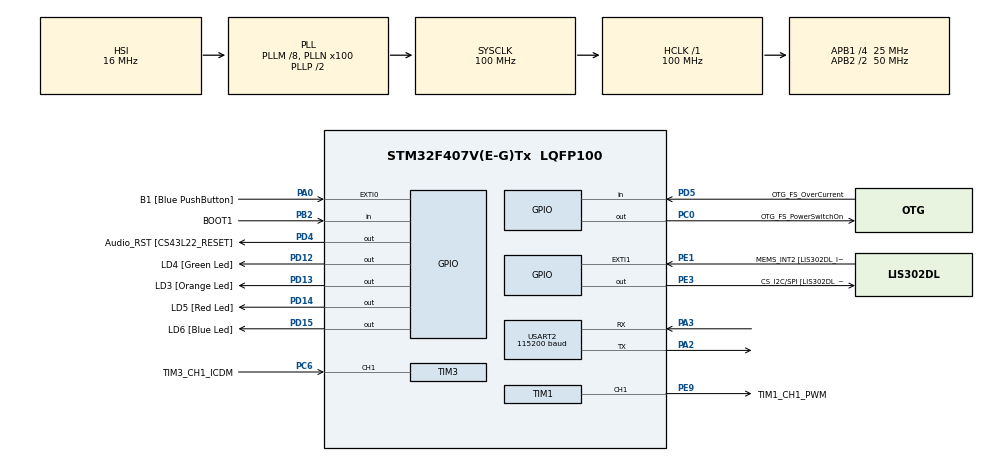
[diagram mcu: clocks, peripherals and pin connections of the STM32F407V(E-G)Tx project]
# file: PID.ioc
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Mcu.Family=STM32F4
PA11.GPIO_Speed=GPIO_SPEED_FREQ_LOW
PC3.GPIO_Mode=GPIO_MODE_AF_PP
PD12.GPIO_Label=LD4 [Green Led]
PH0-OSC_IN.Signal=RCC_OSC_IN
RCC.CortexFreq_Value=100000000
PC10.GPIO_PuPd=GPIO_NOPULL
PB10.GPIO_Speed=GPIO_SPEED_FREQ_LOW
PB6.GPIO_Mode=GPIO_MODE_AF_OD
PB10.GPIO_PuPd=GPIO_NOPULL
TIM1.RepetitionCounter=0
PA10.GPIO_PuPd=GPIO_NOPULL
PD15.GPIO_Speed=GPIO_SPEED_FREQ_LOW
PC10.Signal=I2S3_CK
PC12.Signal=I2S3_SD
PA14.GPIO_Label=SWCLK
PA7.GPIO_Mode=GPIO_MODE_AF_PP
PC0.GPIO_Label=OTG_FS_PowerSwitchOn
PC6.GPIO_Label=TIM3_CH1_ICDM
PA6.GPIO_Label=SPI1_MISO [LIS302DL_SDO]
PB6.GPIO_Label=Audio_SCL [CS43L22_SCL]
PC10.GPIO_Speed=GPIO_SPEED_FREQ_LOW
PA11.GPIO_PuPd=GPIO_NOPULL
PC15-OSC32_OUT.GPIO_Label=PC15-OSC32_OUT
PC3.GPIO_Speed=GPIO_SPEED_FREQ_LOW
RCC.SYSCLKSource=RCC_SYSCLKSOURCE_PLLCLK
ProjectManager.StackSize=0x400
PA6.GPIO_Mode=GPIO_MODE_AF_PP
PD13.Signal=GPIO_Output
PD14.GPIO_Speed=GPIO_SPEED_FREQ_LOW
PA12.Signal=USB_OTG_FS_DP
TIM1.Prescaler=0
RCC.HCLKFreq_Value=100000000
PD4.Signal=GPIO_Output
RCC.APB2TimFreq_Value=100000000
TIM3.Period=0xffff
PB6.Signal=I2C1_SCL
PC7.Signal=I2S3_MCK
PC3.Signal=I2S2_SD
PE1.Signal=GPXTI1
RCC.AHBFreq_Value=100000000
PH0-OSC_IN.GPIO_Label=PH0-OSC_IN
PA9.GPIO_Mode=GPIO_MODE_INPUT
RCC.HSE_VALUE=8000000
TIM3.Channel-Input_Capture1_from_TI1=TIM_CHANNEL_1
PA4.GPIO_PuPd=GPIO_NOPULL
PB2.Signal=GPIO_Input
PA4.GPIO_Speed=GPIO_SPEED_FREQ_LOW
PA6.GPIO_PuPd=GPIO_NOPULL
TIM1.Channel-PWM\ Generation1\ CH1=TIM_CHANNEL_1
PE9.Signal=S_TIM1_CH1
TIM3.Prescaler=0
PA5.GPIO_PuPd=GPIO_NOPULL
NVIC.TIM2_IRQn=true\:0\:0\:false\:false\:true\:true\:true
PA10.GPIO_Label=OTG_FS_ID
PC7.GPIO_Mode=GPIO_MODE_AF_PP
PD5.GPIO_Mode=GPIO_MODE_INPUT
PD14.GPIO_PuPd=GPIO_NOPULL
SH.S_TIM3_CH1.0=TIM3_CH1,Input_Capture1_from_TI1
PB2.GPIO_PuPd=GPIO_NOPULL
VP_TIM1_VS_ClockSourceINT.Mode=Internal
SH.S_TIM3_CH1.1=TIM3_CH1,TriggerSource_TI1FP1
PD13.GPIO_Label=LD3 [Orange Led]
Mcu.Package=LQFP100
PB9.Signal=I2C1_SDA
TIM2.Prescaler=50-1
PA6.Signal=SPI1_MISO
USART2.VirtualMode=VM_ASYNC
PD12.Signal=GPIO_Output
PD5.GPIO_Label=OTG_FS_OverCurrent
PD15.GPIO_PuPd=GPIO_NOPULL
PA10.Signal=USB_OTG_FS_ID
PB9.GPIO_PuPd=GPIO_NOPULL
PA10.GPIO_Speed=GPIO_SPEED_FREQ_LOW
RCC.APB2CLKDivider=RCC_HCLK_DIV2
PB9.GPIO_Speed=GPIO_SPEED_FREQ_LOW
RCC.APB1TimFreq_Value=50000000
PC14-OSC32_IN.GPIO_Label=PC14-OSC32_IN
TIM1.Period=10000-1
PC12.GPIO_PuPd=GPIO_NOPULL
PA6.GPIO_Speed=GPIO_SPEED_FREQ_LOW
PC0.GPIO_PuPd=GPIO_NOPULL
PA12.GPIO_PuPd=GPIO_NOPULL
VP_TIM3_VS_ControllerModeReset.Mode=Reset Mode
PA4.GPIO_Label=I2S3_WS [CS43L22_LRCK]
PD15.Signal=GPIO_Output
PC0.PinState=GPIO_PIN_SET
VP_TIM3_VS_ClockSourceINT.Mode=Internal
PA12.GPIO_Speed=GPIO_SPEED_FREQ_LOW
PA3.Signal=USART2_RX
PB3.GPIO_Label=SWO
PD12.GPIO_Speed=GPIO_SPEED_FREQ_LOW
PD15.GPIO_Label=LD6 [Blue Led]
PB9.GPIO_Label=Audio_SDA [CS43L22_SDA]
PC10.GPIO_Label=I2S3_SCK [CS43L22_SCLK]
PA9.GPIO_Label=VBUS_FS
PB6.GPIO_PuPd=GPIO_NOPULL
PC6.Signal=S_TIM3_CH1
PA11.GPIO_Label=OTG_FS_DM
PE1.GPIO_PuPd=GPIO_NOPULL
PD5.Signal=GPIO_Input
PC0.Signal=GPIO_Output
PE1.GPIO_ModeDefaultEXTI=GPIO_MODE_EVT_RISING
RCC.APB1CLKDivider=RCC_HCLK_DIV4
PC14-OSC32_IN.Signal=RCC_OSC32_IN
PA9.GPIO_PuPd=GPIO_NOPULL
NVIC.USART2_IRQn=true\:0\:0\:false\:false\:true\:true\:true
USART2.BaudRate=115200
PA12.GPIO_Label=OTG_FS_DP
PA0-WKUP.GPIO_Label=B1 [Blue PushButton]
PA0-WKUP.Signal=GPXTI0
PA10.GPIO_Mode=GPIO_MODE_AF_PP
PA3.Mode=Asynchronous
PA13.Signal=SYS_JTMS-SWDIO
PC10.GPIO_Mode=GPIO_MODE_AF_PP
PD4.GPIO_PuPd=GPIO_NOPULL
PC0.GPIO_Speed=GPIO_SPEED_FREQ_LOW
PB10.GPIO_Mode=GPIO_MODE_AF_PP
SH.S_TIM1_CH1.0=TIM1_CH1,PWM Generation1 CH1
ProjectManager.TargetToolchain=STM32CubeIDE
PB10.GPIO_Label=CLK_IN [MP45DT02_CLK]
PA9.Signal=USB_OTG_FS_VBUS
PC7.GPIO_PuPd=GPIO_NOPULL
RCC.LSE_VALUE=32768
PC15-OSC32_OUT.Signal=RCC_OSC32_OUT
PE9.GPIO_Label=TIM1_CH1_PWM
PA7.GPIO_PuPd=GPIO_NOPULL
PB10.Signal=I2S2_CK
PA5.Signal=SPI1_SCK
board=STM32F407G-DISC1
PD13.GPIO_Speed=GPIO_SPEED_FREQ_LOW
PC7.GPIO_Speed=GPIO_SPEED_FREQ_LOW
RCC.VCOOutputFreq_Value=200000000
PE1.GPIO_Label=MEMS_INT2 [LIS302DL_INT2]
PA7.GPIO_Speed=GPIO_SPEED_FREQ_LOW
NVIC.TIM3_IRQn=true\:0\:0\:false\:false\:true\:true\:true
PB9.GPIO_Mode=GPIO_MODE_AF_OD
PA12.GPIO_Mode=GPIO_MODE_AF_PP
PA4.GPIO_Mode=GPIO_MODE_AF_PP
RCC.APB2Freq_Value=50000000
PB2.GPIO_Mode=GPIO_MODE_INPUT
USART2.StopBits=STOPBITS_2
VP_TIM2_VS_ClockSourceINT.Mode=Internal
PD4.GPIO_Label=Audio_RST [CS43L22_RESET]
PD4.GPIO_Speed=GPIO_SPEED_FREQ_LOW
PE3.GPIO_PuPd=GPIO_NOPULL
PH1-OSC_OUT.Signal=RCC_OSC_OUT
PD13.GPIO_PuPd=GPIO_NOPULL
PD5.GPIO_PuPd=GPIO_NOPULL
PD14.GPIO_Label=LD5 [Red Led]
PH1-OSC_OUT.GPIO_Label=PH1-OSC_OUT
TIM2.Period=1000-1
Mcu.Name=STM32F407V(E-G)Tx
PA2.Signal=USART2_TX
PA13.GPIO_Label=SWDIO
PC7.GPIO_Label=I2S3_MCK [CS43L22_MCLK]
PD14.Signal=GPIO_Output
RCC.48MHZClocksFreq_Value=28571428.57142857
PB3.Signal=SYS_JTDO-SWO
PA4.Signal=I2S3_WS
RCC.SYSCLKFreq_VALUE=100000000
PC12.GPIO_Mode=GPIO_MODE_AF_PP
PA7.GPIO_Label=SPI1_MOSI [LIS302DL_SDA/SDI/SDO]
PA5.GPIO_Label=SPI1_SCK [LIS302DL_SCL/SPC]
PE3.GPIO_Speed=GPIO_SPEED_FREQ_LOW
PC12.GPIO_Label=I2S3_SD [CS43L22_SDIN]
PA11.Signal=USB_OTG_FS_DM
PA14.Signal=SYS_JTCK-SWCLK
PB2.GPIO_Label=BOOT1
ProjectManager.HeapSize=0x200
RCC.HSI_VALUE=16000000
PA5.GPIO_Speed=GPIO_SPEED_FREQ_LOW
RCC.PLLQ=7
NVIC.PriorityGroup=NVIC_PRIORITYGROUP_0
RCC.PLLM=8
RCC.PLLN=100
PE3.Signal=GPIO_Output
PA2.Mode=Asynchronous
PE3.GPIO_Label=CS_I2C/SPI [LIS302DL_CS_I2C/SPI]
PC3.GPIO_Label=PDM_OUT [MP45DT02_DOUT]
TIM3.ICFilter_CH1=15
PA11.GPIO_Mode=GPIO_MODE_AF_PP
PB6.GPIO_Speed=GPIO_SPEED_FREQ_LOW
RCC.APB1Freq_Value=25000000
PA5.GPIO_Mode=GPIO_MODE_AF_PP
PC12.GPIO_Speed=GPIO_SPEED_FREQ_LOW
PC3.GPIO_PuPd=GPIO_NOPULL
PD12.GPIO_PuPd=GPIO_NOPULL
PA7.Signal=SPI1_MOSI

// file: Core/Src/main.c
/* USER CODE BEGIN Header */
/**
  ******************************************************************************
  * @file           : main.c
  * @brief          : Main program body
  ******************************************************************************
  * @attention
  *
  * <h2><center>&copy; Copyright (c) 2021 STMicroelectronics.
  * All rights reserved.</center></h2>
  *
  * This software component is licensed by ST under BSD 3-Clause license,
  * the "License"; You may not use this file except in compliance with the
  * License. You may obtain a copy of the License at:
  *                        opensource.org/licenses/BSD-3-Clause
  *
  ******************************************************************************
  */
/* USER CODE END Header */
#include "main.h"

TIM_HandleTypeDef htim1;
TIM_HandleTypeDef htim2;
TIM_HandleTypeDef htim3;

UART_HandleTypeDef huart2;

void SystemClock_Config(void);
static void MX_GPIO_Init(void);
static void MX_TIM1_Init(void);
static void MX_TIM3_Init(void);
static void MX_USART2_UART_Init(void);
static void MX_TIM2_Init(void);

int main(void)
{

  /* MCU Configuration--------------------------------------------------------*/

  /* Reset of all peripherals, Initializes the Flash interface and the Systick. */
  HAL_Init();

  /* Configure the system clock */
  SystemClock_Config();

  /* Initialize all configured peripherals */
  MX_GPIO_Init();
  MX_TIM1_Init();
  MX_TIM3_Init();
  MX_USART2_UART_Init();
  MX_TIM2_Init();
  /* USER CODE BEGIN 2 */
  HAL_TIM_PWM_Start(&htim1,TIM_CHANNEL_1 );
  HAL_TIM_IC_Start_IT(&htim3, TIM_CHANNEL_1);
  HAL_TIM_Base_Start_IT(&htim2);
  HAL_UART_Receive_IT(&huart2, Uart2_rx_buffer, 1);

  PID_Init();

  HAL_GPIO_TogglePin(GPIOD, GPIO_PIN_12);
  HAL_GPIO_TogglePin(GPIOD, GPIO_PIN_13);
  HAL_GPIO_TogglePin(GPIOD, GPIO_PIN_14);
  HAL_GPIO_TogglePin(GPIOD, GPIO_PIN_15);

  TIM1->CCR1 = 5000;

  /* USER CODE END 2 */

  /* Infinite loop */
  while (1)
  {

    /* USER CODE BEGIN 3 */
	  if(HAL_GPIO_ReadPin(GPIOA, GPIO_PIN_0))
	  {

		  if(echo == 1)
		  {
			  HAL_GPIO_TogglePin(GPIOD, GPIO_PIN_12);
			  HAL_GPIO_TogglePin(GPIOD, GPIO_PIN_13);
			  HAL_GPIO_TogglePin(GPIOD, GPIO_PIN_14);
			  HAL_GPIO_TogglePin(GPIOD, GPIO_PIN_15);
			  echo = 0 ;
		  }

	  }

 }
  /* USER CODE END 3 */
}

void SystemClock_Config(void)
{
  RCC_OscInitTypeDef RCC_OscInitStruct = {0};
  RCC_ClkInitTypeDef RCC_ClkInitStruct = {0};

  /** Configure the main internal regulator output voltage
  */
  __HAL_RCC_PWR_CLK_ENABLE();
  __HAL_PWR_VOLTAGESCALING_CONFIG(PWR_REGULATOR_VOLTAGE_SCALE1);
  /** Initializes the RCC Oscillators according to the specified parameters
  * in the RCC_OscInitTypeDef structure.
  */
  RCC_OscInitStruct.OscillatorType = RCC_OSCILLATORTYPE_HSI;
  RCC_OscInitStruct.HSIState = RCC_HSI_ON;
  RCC_OscInitStruct.HSICalibrationValue = RCC_HSICALIBRATION_DEFAULT;
  RCC_OscInitStruct.PLL.PLLState = RCC_PLL_ON;
  RCC_OscInitStruct.PLL.PLLSource = RCC_PLLSOURCE_HSI;
  RCC_OscInitStruct.PLL.PLLM = 8;
  RCC_OscInitStruct.PLL.PLLN = 100;
  RCC_OscInitStruct.PLL.PLLP = RCC_PLLP_DIV2;
  RCC_OscInitStruct.PLL.PLLQ = 7;
  if (HAL_RCC_OscConfig(&RCC_OscInitStruct) != HAL_OK)
  {
    Error_Handler();
  }
  /** Initializes the CPU, AHB and APB buses clocks
  */
  RCC_ClkInitStruct.ClockType = RCC_CLOCKTYPE_HCLK|RCC_CLOCKTYPE_SYSCLK
                              |RCC_CLOCKTYPE_PCLK1|RCC_CLOCKTYPE_PCLK2;
  RCC_ClkInitStruct.SYSCLKSource = RCC_SYSCLKSOURCE_PLLCLK;
  RCC_ClkInitStruct.AHBCLKDivider = RCC_SYSCLK_DIV1;
  RCC_ClkInitStruct.APB1CLKDivider = RCC_HCLK_DIV4;
  RCC_ClkInitStruct.APB2CLKDivider = RCC_HCLK_DIV2;

  if (HAL_RCC_ClockConfig(&RCC_ClkInitStruct, FLASH_LATENCY_3) != HAL_OK)
  {
    Error_Handler();
  }
}

static void MX_TIM1_Init(void)
{

  TIM_ClockConfigTypeDef sClockSourceConfig = {0};
  TIM_MasterConfigTypeDef sMasterConfig = {0};
  TIM_OC_InitTypeDef sConfigOC = {0};
  TIM_BreakDeadTimeConfigTypeDef sBreakDeadTimeConfig = {0};

  htim1.Instance = TIM1;
  htim1.Init.Prescaler = 0;
  htim1.Init.CounterMode = TIM_COUNTERMODE_UP;
  htim1.Init.Period = 10000-1;
  htim1.Init.ClockDivision = TIM_CLOCKDIVISION_DIV1;
  htim1.Init.RepetitionCounter = 0;
  htim1.Init.AutoReloadPreload = TIM_AUTORELOAD_PRELOAD_DISABLE;
  if (HAL_TIM_Base_Init(&htim1) != HAL_OK)
  {
    Error_Handler();
  }
  sClockSourceConfig.ClockSource = TIM_CLOCKSOURCE_INTERNAL;
  if (HAL_TIM_ConfigClockSource(&htim1, &sClockSourceConfig) != HAL_OK)
  {
    Error_Handler();
  }
  if (HAL_TIM_PWM_Init(&htim1) != HAL_OK)
  {
    Error_Handler();
  }
  sMasterConfig.MasterOutputTrigger = TIM_TRGO_RESET;
  sMasterConfig.MasterSlaveMode = TIM_MASTERSLAVEMODE_DISABLE;
  if (HAL_TIMEx_MasterConfigSynchronization(&htim1, &sMasterConfig) != HAL_OK)
  {
    Error_Handler();
  }
  sConfigOC.OCMode = TIM_OCMODE_PWM1;
  sConfigOC.Pulse = 0;
  sConfigOC.OCPolarity = TIM_OCPOLARITY_HIGH;
  sConfigOC.OCNPolarity = TIM_OCNPOLARITY_HIGH;
  sConfigOC.OCFastMode = TIM_OCFAST_DISABLE;
  sConfigOC.OCIdleState = TIM_OCIDLESTATE_RESET;
  sConfigOC.OCNIdleState = TIM_OCNIDLESTATE_RESET;
  if (HAL_TIM_PWM_ConfigChannel(&htim1, &sConfigOC, TIM_CHANNEL_1) != HAL_OK)
  {
    Error_Handler();
  }
  sBreakDeadTimeConfig.OffStateRunMode = TIM_OSSR_DISABLE;
  sBreakDeadTimeConfig.OffStateIDLEMode = TIM_OSSI_DISABLE;
  sBreakDeadTimeConfig.LockLevel = TIM_LOCKLEVEL_OFF;
  sBreakDeadTimeConfig.DeadTime = 0;
  sBreakDeadTimeConfig.BreakState = TIM_BREAK_DISABLE;
  sBreakDeadTimeConfig.BreakPolarity = TIM_BREAKPOLARITY_HIGH;
  sBreakDeadTimeConfig.AutomaticOutput = TIM_AUTOMATICOUTPUT_DISABLE;
  if (HAL_TIMEx_ConfigBreakDeadTime(&htim1, &sBreakDeadTimeConfig) != HAL_OK)
  {
    Error_Handler();
  }
  HAL_TIM_MspPostInit(&htim1);

}

static void MX_TIM2_Init(void)
{

  TIM_ClockConfigTypeDef sClockSourceConfig = {0};
  TIM_MasterConfigTypeDef sMasterConfig = {0};

  htim2.Instance = TIM2;
  htim2.Init.Prescaler = 50-1;
  htim2.Init.CounterMode = TIM_COUNTERMODE_UP;
  htim2.Init.Period = 1000-1;
  htim2.Init.ClockDivision = TIM_CLOCKDIVISION_DIV1;
  htim2.Init.AutoReloadPreload = TIM_AUTORELOAD_PRELOAD_DISABLE;
  if (HAL_TIM_Base_Init(&htim2) != HAL_OK)
  {
    Error_Handler();
  }
  sClockSourceConfig.ClockSource = TIM_CLOCKSOURCE_INTERNAL;
  if (HAL_TIM_ConfigClockSource(&htim2, &sClockSourceConfig) != HAL_OK)
  {
    Error_Handler();
  }
  sMasterConfig.MasterOutputTrigger = TIM_TRGO_RESET;
  sMasterConfig.MasterSlaveMode = TIM_MASTERSLAVEMODE_DISABLE;
  if (HAL_TIMEx_MasterConfigSynchronization(&htim2, &sMasterConfig) != HAL_OK)
  {
    Error_Handler();
  }

}

static void MX_TIM3_Init(void)
{

  TIM_ClockConfigTypeDef sClockSourceConfig = {0};
  TIM_SlaveConfigTypeDef sSlaveConfig = {0};
  TIM_MasterConfigTypeDef sMasterConfig = {0};
  TIM_IC_InitTypeDef sConfigIC = {0};

  htim3.Instance = TIM3;
  htim3.Init.Prescaler = 0;
  htim3.Init.CounterMode = TIM_COUNTERMODE_UP;
  htim3.Init.Period = 0xffff;
  htim3.Init.ClockDivision = TIM_CLOCKDIVISION_DIV1;
  htim3.Init.AutoReloadPreload = TIM_AUTORELOAD_PRELOAD_DISABLE;
  if (HAL_TIM_Base_Init(&htim3) != HAL_OK)
  {
    Error_Handler();
  }
  sClockSourceConfig.ClockSource = TIM_CLOCKSOURCE_INTERNAL;
  if (HAL_TIM_ConfigClockSource(&htim3, &sClockSourceConfig) != HAL_OK)
  {
    Error_Handler();
  }
  if (HAL_TIM_IC_Init(&htim3) != HAL_OK)
  {
    Error_Handler();
  }
  sSlaveConfig.SlaveMode = TIM_SLAVEMODE_RESET;
  sSlaveConfig.InputTrigger = TIM_TS_TI1FP1;
  sSlaveConfig.TriggerPolarity = TIM_INPUTCHANNELPOLARITY_RISING;
  sSlaveConfig.TriggerFilter = 0;
  if (HAL_TIM_SlaveConfigSynchro(&htim3, &sSlaveConfig) != HAL_OK)
  {
    Error_Handler();
  }
  sMasterConfig.MasterOutputTrigger = TIM_TRGO_RESET;
  sMasterConfig.MasterSlaveMode = TIM_MASTERSLAVEMODE_DISABLE;
  if (HAL_TIMEx_MasterConfigSynchronization(&htim3, &sMasterConfig) != HAL_OK)
  {
    Error_Handler();
  }
  sConfigIC.ICPolarity = TIM_INPUTCHANNELPOLARITY_RISING;
  sConfigIC.ICSelection = TIM_ICSELECTION_DIRECTTI;
  sConfigIC.ICPrescaler = TIM_ICPSC_DIV1;
  sConfigIC.ICFilter = 15;
  if (HAL_TIM_IC_ConfigChannel(&htim3, &sConfigIC, TIM_CHANNEL_1) != HAL_OK)
  {
    Error_Handler();
  }

}

static void MX_USART2_UART_Init(void)
{

  huart2.Instance = USART2;
  huart2.Init.BaudRate = 115200;
  huart2.Init.WordLength = UART_WORDLENGTH_8B;
  huart2.Init.StopBits = UART_STOPBITS_2;
  huart2.Init.Parity = UART_PARITY_NONE;
  huart2.Init.Mode = UART_MODE_TX_RX;
  huart2.Init.HwFlowCtl = UART_HWCONTROL_NONE;
  huart2.Init.OverSampling = UART_OVERSAMPLING_16;
  if (HAL_UART_Init(&huart2) != HAL_OK)
  {
    Error_Handler();
  }

}

static void MX_GPIO_Init(void)
{
  GPIO_InitTypeDef GPIO_InitStruct = {0};

  /* GPIO Ports Clock Enable */
  __HAL_RCC_GPIOE_CLK_ENABLE();
  __HAL_RCC_GPIOC_CLK_ENABLE();
  __HAL_RCC_GPIOH_CLK_ENABLE();
  __HAL_RCC_GPIOA_CLK_ENABLE();
  __HAL_RCC_GPIOB_CLK_ENABLE();
  __HAL_RCC_GPIOD_CLK_ENABLE();

  /*Configure GPIO pin Output Level */
  HAL_GPIO_WritePin(CS_I2C_SPI_GPIO_Port, CS_I2C_SPI_Pin, GPIO_PIN_RESET);

  /*Configure GPIO pin Output Level */
  HAL_GPIO_WritePin(OTG_FS_PowerSwitchOn_GPIO_Port, OTG_FS_PowerSwitchOn_Pin, GPIO_PIN_SET);

  /*Configure GPIO pin Output Level */
  HAL_GPIO_WritePin(GPIOD, LD4_Pin|LD3_Pin|LD5_Pin|LD6_Pin
                          |Audio_RST_Pin, GPIO_PIN_RESET);

  /*Configure GPIO pin : CS_I2C_SPI_Pin */
  GPIO_InitStruct.Pin = CS_I2C_SPI_Pin;
  GPIO_InitStruct.Mode = GPIO_MODE_OUTPUT_PP;
  GPIO_InitStruct.Pull = GPIO_NOPULL;
  GPIO_InitStruct.Speed = GPIO_SPEED_FREQ_LOW;
  HAL_GPIO_Init(CS_I2C_SPI_GPIO_Port, &GPIO_InitStruct);

  /*Configure GPIO pin : OTG_FS_PowerSwitchOn_Pin */
  GPIO_InitStruct.Pin = OTG_FS_PowerSwitchOn_Pin;
  GPIO_InitStruct.Mode = GPIO_MODE_OUTPUT_PP;
  GPIO_InitStruct.Pull = GPIO_NOPULL;
  GPIO_InitStruct.Speed = GPIO_SPEED_FREQ_LOW;
  HAL_GPIO_Init(OTG_FS_PowerSwitchOn_GPIO_Port, &GPIO_InitStruct);

  /*Configure GPIO pin : PDM_OUT_Pin */
  GPIO_InitStruct.Pin = PDM_OUT_Pin;
  GPIO_InitStruct.Mode = GPIO_MODE_AF_PP;
  GPIO_InitStruct.Pull = GPIO_NOPULL;
  GPIO_InitStruct.Speed = GPIO_SPEED_FREQ_LOW;
  GPIO_InitStruct.Alternate = GPIO_AF5_SPI2;
  HAL_GPIO_Init(PDM_OUT_GPIO_Port, &GPIO_InitStruct);

  /*Configure GPIO pin : B1_Pin */
  GPIO_InitStruct.Pin = B1_Pin;
  GPIO_InitStruct.Mode = GPIO_MODE_IT_RISING;
  GPIO_InitStruct.Pull = GPIO_NOPULL;
  HAL_GPIO_Init(B1_GPIO_Port, &GPIO_InitStruct);

  /*Configure GPIO pin : I2S3_WS_Pin */
  GPIO_InitStruct.Pin = I2S3_WS_Pin;
  GPIO_InitStruct.Mode = GPIO_MODE_AF_PP;
  GPIO_InitStruct.Pull = GPIO_NOPULL;
  GPIO_InitStruct.Speed = GPIO_SPEED_FREQ_LOW;
  GPIO_InitStruct.Alternate = GPIO_AF6_SPI3;
  HAL_GPIO_Init(I2S3_WS_GPIO_Port, &GPIO_InitStruct);

  /*Configure GPIO pins : SPI1_SCK_Pin SPI1_MISO_Pin SPI1_MOSI_Pin */
  GPIO_InitStruct.Pin = SPI1_SCK_Pin|SPI1_MISO_Pin|SPI1_MOSI_Pin;
  GPIO_InitStruct.Mode = GPIO_MODE_AF_PP;
  GPIO_InitStruct.Pull = GPIO_NOPULL;
  GPIO_InitStruct.Speed = GPIO_SPEED_FREQ_LOW;
  GPIO_InitStruct.Alternate = GPIO_AF5_SPI1;
  HAL_GPIO_Init(GPIOA, &GPIO_InitStruct);

  /*Configure GPIO pin : BOOT1_Pin */
  GPIO_InitStruct.Pin = BOOT1_Pin;
  GPIO_InitStruct.Mode = GPIO_MODE_INPUT;
  GPIO_InitStruct.Pull = GPIO_NOPULL;
  HAL_GPIO_Init(BOOT1_GPIO_Port, &GPIO_InitStruct);

  /*Configure GPIO pin : CLK_IN_Pin */
  GPIO_InitStruct.Pin = CLK_IN_Pin;
  GPIO_InitStruct.Mode = GPIO_MODE_AF_PP;
  GPIO_InitStruct.Pull = GPIO_NOPULL;
  GPIO_InitStruct.Speed = GPIO_SPEED_FREQ_LOW;
  GPIO_InitStruct.Alternate = GPIO_AF5_SPI2;
  HAL_GPIO_Init(CLK_IN_GPIO_Port, &GPIO_InitStruct);

  /*Configure GPIO pins : LD4_Pin LD3_Pin LD5_Pin LD6_Pin
                           Audio_RST_Pin */
  GPIO_InitStruct.Pin = LD4_Pin|LD3_Pin|LD5_Pin|LD6_Pin
                          |Audio_RST_Pin;
  GPIO_InitStruct.Mode = GPIO_MODE_OUTPUT_PP;
  GPIO_InitStruct.Pull = GPIO_NOPULL;
  GPIO_InitStruct.Speed = GPIO_SPEED_FREQ_LOW;
  HAL_GPIO_Init(GPIOD, &GPIO_InitStruct);

  /*Configure GPIO pins : I2S3_MCK_Pin I2S3_SCK_Pin I2S3_SD_Pin */
  GPIO_InitStruct.Pin = I2S3_MCK_Pin|I2S3_SCK_Pin|I2S3_SD_Pin;
  GPIO_InitStruct.Mode = GPIO_MODE_AF_PP;
  GPIO_InitStruct.Pull = GPIO_NOPULL;
  GPIO_InitStruct.Speed = GPIO_SPEED_FREQ_LOW;
  GPIO_InitStruct.Alternate = GPIO_AF6_SPI3;
  HAL_GPIO_Init(GPIOC, &GPIO_InitStruct);

  /*Configure GPIO pin : VBUS_FS_Pin */
  GPIO_InitStruct.Pin = VBUS_FS_Pin;
  GPIO_InitStruct.Mode = GPIO_MODE_INPUT;
  GPIO_InitStruct.Pull = GPIO_NOPULL;
  HAL_GPIO_Init(VBUS_FS_GPIO_Port, &GPIO_InitStruct);

  /*Configure GPIO pins : OTG_FS_ID_Pin OTG_FS_DM_Pin OTG_FS_DP_Pin */
  GPIO_InitStruct.Pin = OTG_FS_ID_Pin|OTG_FS_DM_Pin|OTG_FS_DP_Pin;
  GPIO_InitStruct.Mode = GPIO_MODE_AF_PP;
  GPIO_InitStruct.Pull = GPIO_NOPULL;
  GPIO_InitStruct.Speed = GPIO_SPEED_FREQ_LOW;
  GPIO_InitStruct.Alternate = GPIO_AF10_OTG_FS;
  HAL_GPIO_Init(GPIOA, &GPIO_InitStruct);

  /*Configure GPIO pin : OTG_FS_OverCurrent_Pin */
  GPIO_InitStruct.Pin = OTG_FS_OverCurrent_Pin;
  GPIO_InitStruct.Mode = GPIO_MODE_INPUT;
  GPIO_InitStruct.Pull = GPIO_NOPULL;
  HAL_GPIO_Init(OTG_FS_OverCurrent_GPIO_Port, &GPIO_InitStruct);

  /*Configure GPIO pins : Audio_SCL_Pin Audio_SDA_Pin */
  GPIO_InitStruct.Pin = Audio_SCL_Pin|Audio_SDA_Pin;
  GPIO_InitStruct.Mode = GPIO_MODE_AF_OD;
  GPIO_InitStruct.Pull = GPIO_PULLUP;
  GPIO_InitStruct.Speed = GPIO_SPEED_FREQ_LOW;
  GPIO_InitStruct.Alternate = GPIO_AF4_I2C1;
  HAL_GPIO_Init(GPIOB, &GPIO_InitStruct);

  /*Configure GPIO pin : MEMS_INT2_Pin */
  GPIO_InitStruct.Pin = MEMS_INT2_Pin;
  GPIO_InitStruct.Mode = GPIO_MODE_EVT_RISING;
  GPIO_InitStruct.Pull = GPIO_NOPULL;
  HAL_GPIO_Init(MEMS_INT2_GPIO_Port, &GPIO_InitStruct);

}

/* USER CODE BEGIN 4 */

void HAL_TIM_IC_CaptureCallback(TIM_HandleTypeDef *htim)
{

		if(htim == &htim3 && htim->Channel == HAL_TIM_ACTIVE_CHANNEL_1)
		{
			pid.Fed_Frequancy.Ui_32 = (2*HAL_RCC_GetPCLK1Freq()/HAL_TIM_ReadCapturedValue(htim, TIM_CHANNEL_1));

		}

	/* Prevent unused argument(s) compilation warning */
  UNUSED(htim);

  /* NOTE : This function should not be modified, when the callback is needed,
            the HAL_TIM_IC_CaptureCallback could be implemented in the user file
   */
}
void HAL_TIM_PeriodElapsedCallback(TIM_HandleTypeDef *htim)
{
	if(htim == &htim2)
	{
	Tim_clock.Ui_32++;
	}
	if(echo == 0)
	{
		if(htim == &htim2)
		{
			Tim_10_Us--;
		}
		if(Tim_10_Us == 0)
		{

			PID_Calculate_Set();
			Uart2_send_FFreq_Upid_Tim();
			Tim_10_Us = 10;
		}
	}
}

/* USER CODE END 4 */

void Error_Handler(void)
{
  __disable_irq();
  while (1)
  {
  }
}

/************************ (C) COPYRIGHT STMicroelectronics *****END OF FILE****/
